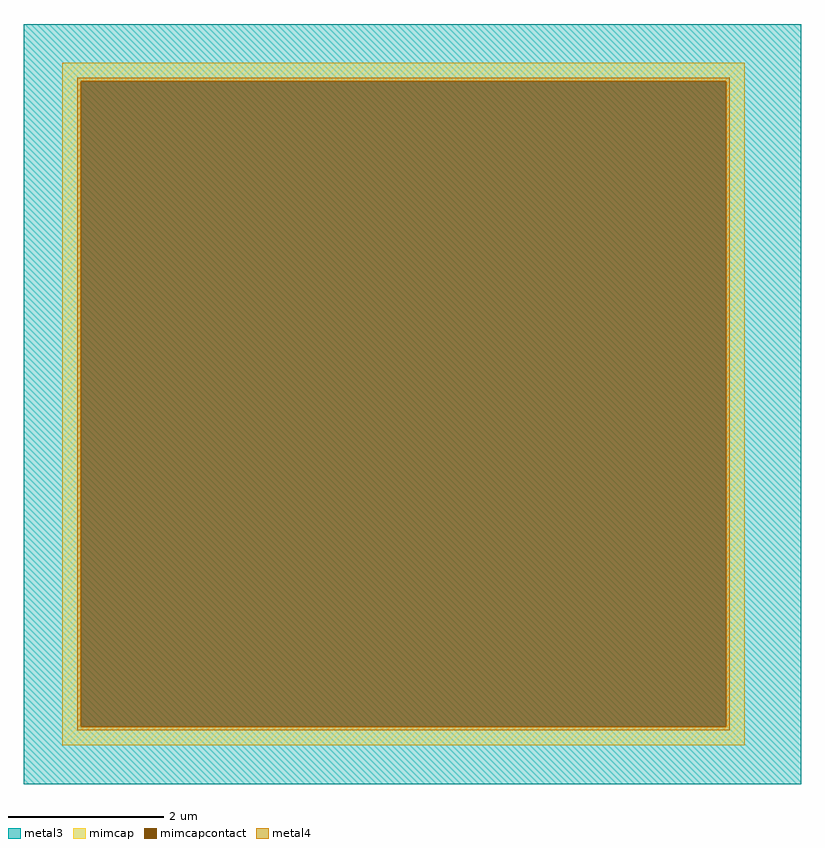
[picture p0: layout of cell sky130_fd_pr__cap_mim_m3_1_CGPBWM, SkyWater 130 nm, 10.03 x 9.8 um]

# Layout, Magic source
magic
tech sky130A
magscale 1 2
<< metal3 >>
rect -1031 -980 975 980
<< mimcap >>
rect -931 832 829 880
rect -931 -832 -883 832
rect 781 -832 829 832
rect -931 -880 829 -832
<< mimcapcontact >>
rect -883 -832 781 832
<< metal4 >>
rect -892 832 790 841
rect -892 -832 -883 832
rect 781 -832 790 832
rect -892 -841 790 -832
<< properties >>
string FIXED_BBOX -1030 -980 930 980
<< end >>
